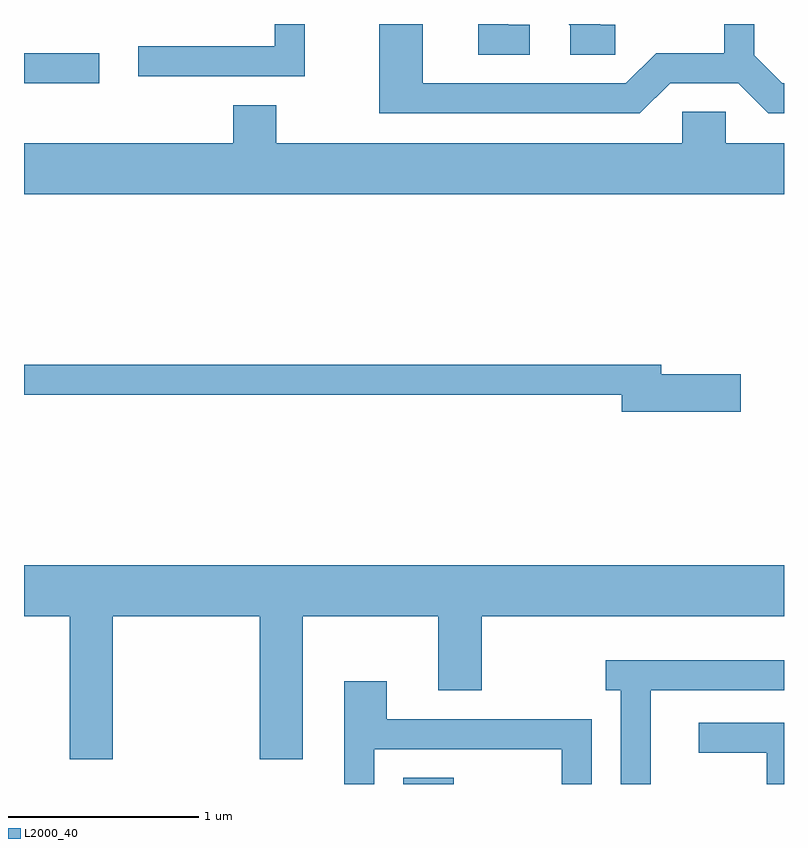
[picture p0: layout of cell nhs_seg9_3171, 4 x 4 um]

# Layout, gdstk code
import gdstk
lib = gdstk.Library(unit=1e-6, precision=1e-09)
def R(c, l, rs):  # rectangles x0, y0, x1, y1
    for r in rs: c.add(gdstk.rectangle(r[:2], r[2:], *l))
def P(c, l, *ps):  # polygons
    for p in ps: c.add(gdstk.Polygon(p, *l))
L2000_40 = (2000, 40)

nhs_seg9_3171 = lib.new_cell('nhs_seg9_3171')
R(nhs_seg9_3171, L2000_40, [(279.606,2046.432,279.874,2046.464), (277.611,2050.121,278.008,2050.279), (280.866,2050.431,281.124,2050.432)])
P(nhs_seg9_3171, L2000_40, [(280.723,2050.429),(280.644,2050.429),(280.644,2050.432),(280.477,2050.432),(280.486,2050.423),(280.486,2050.271),(280.723,2050.271)],
  [(280.273,2050.429),(280.159,2050.429),(280.159,2050.432),(280.001,2050.432),(280.001,2050.271),(280.273,2050.271)],
  [(279.089,2050.432),(278.931,2050.432),(278.931,2050.314),(278.213,2050.314),(278.213,2050.156),(279.089,2050.156)],
  [(281.012,2050.121),(281.369,2050.121),(281.529,2049.961),(281.611,2049.961),(281.611,2050.119),(281.602,2050.119),(281.454,2050.267),(281.454,2050.432),(281.296,2050.432),(281.296,2050.279),(280.939,2050.279),(280.779,2050.119),(279.709,2050.119),(279.709,2050.432),(279.481,2050.432),(279.481,2049.961),(280.852,2049.961)],
  [(281.611,2049.804),(281.304,2049.804),(281.304,2049.969),(281.076,2049.969),(281.076,2049.804),(278.939,2049.804),(278.939,2050.004),(278.711,2050.004),(278.711,2049.804),(277.611,2049.804),(277.611,2049.536),(281.611,2049.536)],
  [(281.384,2048.589),(280.964,2048.589),(280.964,2048.639),(277.611,2048.639),(277.611,2048.481),(280.756,2048.481),(280.756,2048.391),(281.384,2048.391)],
  [(278.079,2047.316),(278.851,2047.316),(278.851,2046.561),(279.079,2046.561),(279.079,2047.316),(279.791,2047.316),(279.791,2046.926),(280.019,2046.926),(280.019,2047.316),(281.611,2047.316),(281.611,2047.584),(277.611,2047.584),(277.611,2047.316),(277.851,2047.316),(277.851,2046.561),(278.079,2046.561)],
  [(280.909,2046.926),(281.611,2046.926),(281.611,2047.084),(280.673,2047.084),(280.673,2046.926),(280.751,2046.926),(280.751,2046.432),(280.909,2046.432)],
  [(279.454,2046.616),(280.441,2046.616),(280.441,2046.432),(280.599,2046.432),(280.599,2046.774),(279.519,2046.774),(279.519,2046.974),(279.296,2046.974),(279.296,2046.432),(279.454,2046.432)],
  [(281.611,2046.754),(281.163,2046.754),(281.163,2046.596),(281.521,2046.596),(281.521,2046.432),(281.611,2046.432)])

lib.write_gds('nhs_seg9_3171.gds')
